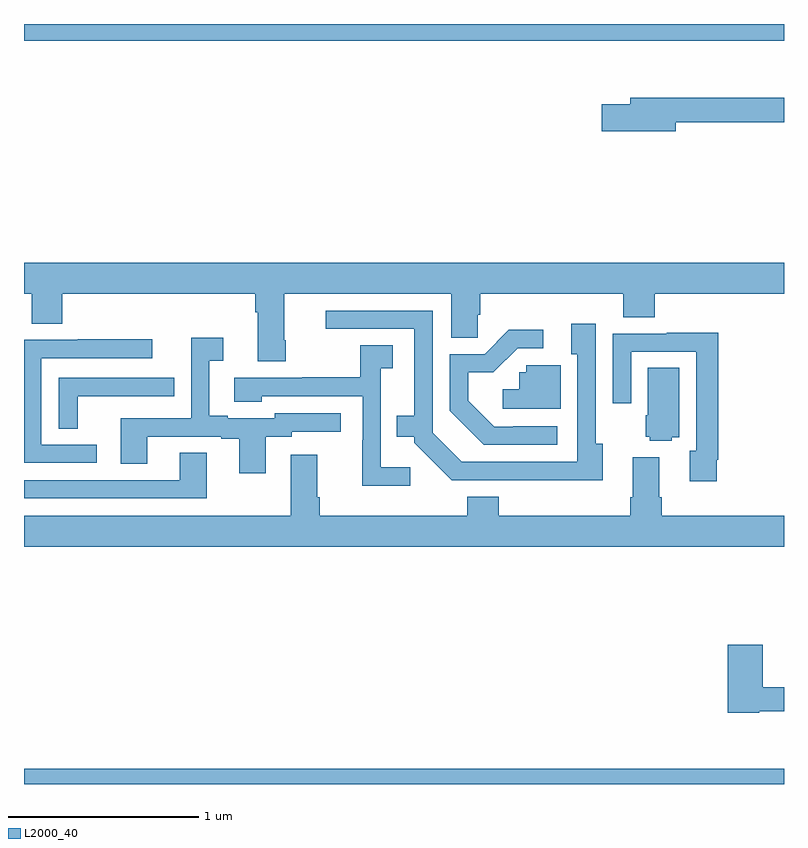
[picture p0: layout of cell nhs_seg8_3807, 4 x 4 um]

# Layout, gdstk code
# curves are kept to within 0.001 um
import gdstk
lib = gdstk.Library(unit=1e-6, precision=1e-09)
def R(c, l, rs):  # rectangles x0, y0, x1, y1
    for r in rs: c.add(gdstk.rectangle(r[:2], r[2:], *l))
def P(c, l, *ps):  # polygons
    for p in ps: c.add(gdstk.Polygon(p, *l))
L2000_40 = (2000, 40)

nhs_seg8_3807 = lib.new_cell('nhs_seg8_3807')
R(nhs_seg8_3807, L2000_40, [(345,1133.9,349,1133.98), (345,1137.812,349,1137.9)])
P(nhs_seg8_3807, L2000_40, [(348.43,1137.382),(349,1137.382),(349,1137.511),(348.191,1137.511),(348.191,1137.477),(348.042,1137.477),(348.042,1137.335),(348.43,1137.335)],
  [(346.377,1136.236),(346.369,1136.236),(346.369,1136.48),(347.249,1136.48),(347.249,1136.248),(347.387,1136.248),(347.387,1136.37),(347.402,1136.37),(347.402,1136.48),(348.155,1136.48),(348.155,1136.356),(348.32,1136.356),(348.32,1136.48),(349,1136.48),(349,1136.644),(345,1136.644),(345,1136.48),(345.04,1136.48),(345.04,1136.323),(345.2,1136.323),(345.2,1136.48),(346.217,1136.48),(346.217,1136.384),(346.229,1136.384),(346.229,1136.124),(346.377,1136.124)],
  [(348.046,1135.69),(348.009,1135.69),(348.009,1136.323),(347.879,1136.323),(347.879,1136.162),(347.913,1136.162),(347.913,1135.596),(347.304,1135.596),(347.151,1135.749),(347.151,1136.391),(346.587,1136.391),(346.587,1136.295),(347.054,1136.295),(347.054,1135.837),(346.963,1135.837),(346.963,1135.727),(347.055,1135.727),(347.055,1135.695),(347.25,1135.5),(348.046,1135.499)],
  [(347.806,1135.782),(347.575,1135.782),(347.575,1135.779),(347.475,1135.779),(347.338,1135.916),(347.338,1136.066),(347.471,1136.066),(347.598,1136.193),(347.734,1136.193),(347.734,1136.291),(347.552,1136.291),(347.424,1136.163),(347.241,1136.163),(347.241,1135.865),(347.42,1135.686),(347.806,1135.686)],
  [(348.646,1135.606),(348.653,1135.606),(348.653,1136.275),(348.383,1136.275),(348.383,1136.271),(348.099,1136.271),(348.099,1135.905),(348.195,1135.905),(348.195,1136.175),(348.537,1136.175),(348.537,1135.655),(348.503,1135.655),(348.503,1135.494),(348.646,1135.494)],
  [(346.273,1135.728),(346.41,1135.728),(346.41,1135.755),(346.666,1135.755),(346.666,1135.851),(346.32,1135.851),(346.32,1135.824),(346.072,1135.824),(346.072,1135.837),(345.976,1135.837),(345.976,1136.128),(346.048,1136.128),(346.048,1136.248),(345.879,1136.248),(345.879,1135.824),(345.509,1135.824),(345.509,1135.585),(345.649,1135.585),(345.649,1135.728),(346.037,1135.728),(346.037,1135.716),(346.133,1135.716),(346.133,1135.536),(346.273,1135.536)],
  [(345.382,1135.686),(345.09,1135.686),(345.09,1136.142),(345.676,1136.142),(345.676,1136.241),(345.283,1136.241),(345.283,1136.238),(345,1136.238),(345,1135.59),(345.382,1135.59)],
  [(347.032,1135.567),(346.878,1135.567),(346.878,1136.089),(346.942,1136.089),(346.942,1136.21),(346.77,1136.21),(346.77,1136.04),(346.465,1136.04),(346.465,1136.037),(346.107,1136.037),(346.107,1135.913),(346.251,1135.913),(346.251,1135.941),(346.782,1135.941),(346.782,1135.709),(346.78,1135.709),(346.78,1135.469),(347.032,1135.469)],
  [(347.824,1136.103),(347.643,1136.103),(347.643,1136.067),(347.607,1136.067),(347.607,1135.978),(347.52,1135.978),(347.52,1135.875),(347.824,1135.875)],
  [(348.408,1135.724),(348.448,1135.724),(348.448,1136.09),(348.284,1136.09),(348.284,1135.842),(348.272,1135.842),(348.272,1135.728),(348.294,1135.728),(348.294,1135.706),(348.408,1135.706)],
  [(345.282,1135.941),(345.677,1135.941),(345.677,1135.942),(345.79,1135.942),(345.79,1136.037),(345.183,1136.037),(345.183,1135.771),(345.282,1135.771)],
  [(345.961,1135.643),(345.821,1135.643),(345.821,1135.5),(345,1135.5),(345,1135.404),(345.961,1135.404)],
  [(349,1135.312),(348.356,1135.312),(348.356,1135.408),(348.343,1135.408),(348.343,1135.621),(348.203,1135.621),(348.203,1135.408),(348.191,1135.408),(348.191,1135.312),(347.498,1135.312),(347.498,1135.411),(347.333,1135.411),(347.333,1135.312),(346.556,1135.312),(346.556,1135.408),(346.543,1135.408),(346.543,1135.633),(346.403,1135.633),(346.403,1135.312),(345,1135.312),(345,1135.148),(349,1135.148)],
  [(348.87,1134.282),(349,1134.282),(349,1134.41),(348.887,1134.41),(348.887,1134.634),(348.704,1134.634),(348.704,1134.274),(348.87,1134.274)])

lib.write_gds('nhs_seg8_3807.gds')
